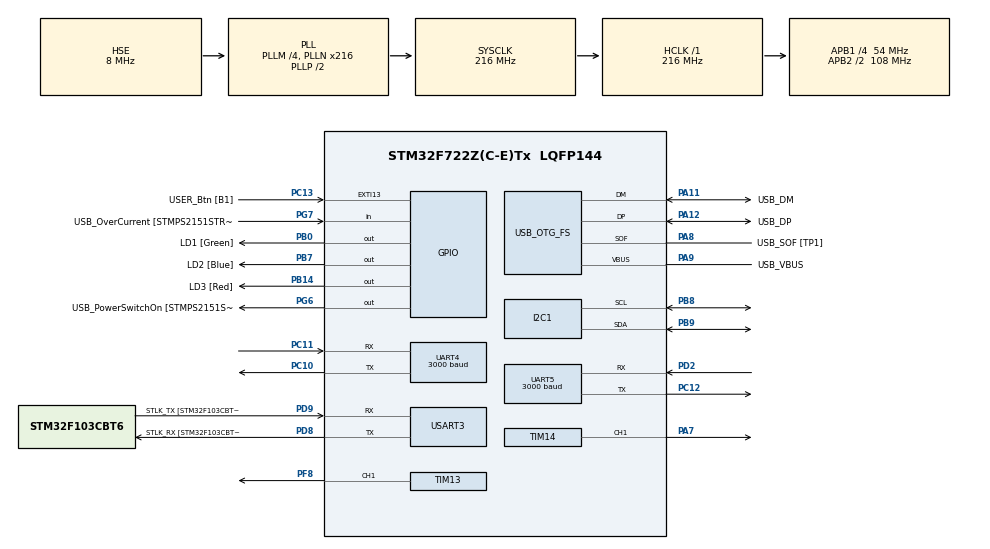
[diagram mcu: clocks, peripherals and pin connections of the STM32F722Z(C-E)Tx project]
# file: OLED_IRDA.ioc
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I2C1.Timing=0x20404768
Mcu.Family=STM32F7
Mcu.Name=STM32F722Z(C-E)Tx
Mcu.Package=LQFP144
NVIC.PriorityGroup=NVIC_PRIORITYGROUP_4
NVIC.UART4_IRQn=true\:0\:0\:false\:false\:true\:true\:true\:true
NVIC.UART5_IRQn=true\:0\:0\:false\:false\:true\:true\:true\:true
PA10.GPIO_Label=USB_ID
PA10.Signal=USB_OTG_FS_ID
PA11.GPIO_Label=USB_DM
PA11.Mode=Device_Only
PA11.Signal=USB_OTG_FS_DM
PA12.GPIO_Label=USB_DP
PA12.Mode=Device_Only
PA12.Signal=USB_OTG_FS_DP
PA13.GPIO_Label=TMS
PA13.Mode=Serial_Wire
PA13.Signal=SYS_JTMS-SWDIO
PA14.GPIO_Label=TCK
PA14.Mode=Serial_Wire
PA14.Signal=SYS_JTCK-SWCLK
PA7.Signal=S_TIM14_CH1
PA8.GPIO_Label=USB_SOF [TP1]
PA8.Mode=Activate_SOF_FS
PA8.Signal=USB_OTG_FS_SOF
PA9.GPIO_Label=USB_VBUS
PA9.Mode=Activate_VBUS
PA9.Signal=USB_OTG_FS_VBUS
PB0.GPIO_Label=LD1 [Green]
PB0.Signal=GPIO_Output
PB14.GPIO_Label=LD3 [Red]
PB14.Signal=GPIO_Output
PB3.GPIO_Label=SWO
PB3.Signal=SYS_JTDO-SWO
PB6.Signal=S_TIM4_CH1
PB7.GPIO_Label=LD2 [Blue]
PB7.Signal=GPIO_Output
PB8.Mode=I2C
PB8.Signal=I2C1_SCL
PB9.Mode=I2C
PB9.Signal=I2C1_SDA
PC10.Mode=Asynchronous
PC10.Signal=UART4_TX
PC11.Mode=Asynchronous
PC11.Signal=UART4_RX
PC12.Mode=Asynchronous
PC12.Signal=UART5_TX
PC13.GPIO_Label=USER_Btn [B1]
PC13.Signal=GPXTI13
PC14-OSC32_IN.Mode=LSE-External-Clock-Source
PC14-OSC32_IN.Signal=RCC_OSC32_IN
PC15-OSC32_OUT.Mode=LSE-External-Clock-Source
PC15-OSC32_OUT.Signal=RCC_OSC32_OUT
PD2.Mode=Asynchronous
PD2.Signal=UART5_RX
PD8.GPIO_Label=STLK_RX [STM32F103CBT6_PA3]
PD8.Mode=Asynchronous
PD8.Signal=USART3_TX
PD9.GPIO_Label=STLK_TX [STM32F103CBT6_PA2]
PD9.Mode=Asynchronous
PD9.Signal=USART3_RX
PF8.Signal=S_TIM13_CH1
PG6.GPIO_Label=USB_PowerSwitchOn [STMPS2151STR_EN]
PG6.Signal=GPIO_Output
PG7.GPIO_Label=USB_OverCurrent [STMPS2151STR_FAULT]
PG7.Signal=GPIO_Input
PH0-OSC_IN.GPIO_Label=MCO
PH0-OSC_IN.Mode=HSE-External-Clock-Source
PH0-OSC_IN.Signal=RCC_OSC_IN
PH1-OSC_OUT.Mode=HSE-External-Clock-Source
PH1-OSC_OUT.Signal=RCC_OSC_OUT
ProjectManager.HeapSize=0x200
ProjectManager.StackSize=0x400
ProjectManager.TargetToolchain=STM32CubeIDE
RCC.48MHZClocksFreq_Value=24000000
RCC.AHBFreq_Value=216000000
RCC.APB1CLKDivider=RCC_HCLK_DIV4
RCC.APB1Freq_Value=54000000
RCC.APB1TimFreq_Value=108000000
RCC.APB2CLKDivider=RCC_HCLK_DIV2
RCC.APB2Freq_Value=108000000
RCC.APB2TimFreq_Value=216000000
RCC.CortexFreq_Value=216000000
RCC.HCLKFreq_Value=216000000
RCC.HSE_VALUE=8000000
RCC.HSI_VALUE=16000000
RCC.PLLM=4
RCC.PLLMUL=RCC_PLL_MUL9
RCC.PLLN=216
RCC.PLLQ=9
RCC.PRESCALERUSB=RCC_USBCLKSOURCE_PLL_DIV1_5
RCC.RTCClockSelection=RCC_RTCCLKSOURCE_LSE
RCC.SYSCLKFreq_VALUE=216000000
RCC.SYSCLKSource=RCC_SYSCLKSOURCE_PLLCLK
RCC.SYSCLKSourceVirtual=RCC_SYSCLKSOURCE_PLLCLK
RCC.USBFreq_Value=48000000
RCC.VCOOutputFreq_Value=432000000
SH.S_TIM13_CH1.0=TIM13_CH1,PWM Generation1 CH1
SH.S_TIM14_CH1.0=TIM14_CH1,PWM Generation1 CH1
SH.S_TIM4_CH1.0=TIM4_CH1
TIM13.Channel=TIM_CHANNEL_1
TIM13.Period=4-1
TIM13.Prescaler=750-1
TIM14.Channel=TIM_CHANNEL_1
TIM14.Period=4-1
TIM14.Prescaler=482-1
UART4.BaudRate=3000
UART5.BaudRate=3000
USART3.VirtualMode-Asynchronous=VM_ASYNC
USB_OTG_FS.VirtualMode=Device_Only
VP_TIM13_VS_ClockSourceINT.Mode=Enable_Timer
VP_TIM14_VS_ClockSourceINT.Mode=Enable_Timer
board=NUCLEO-F722ZE

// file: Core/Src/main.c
/* USER CODE BEGIN Header */
/**
  ******************************************************************************
  * @file           : main.c
  * @brief          : Main program body
  ******************************************************************************
  * @attention
  *
  * Copyright (c) 2023 STMicroelectronics.
  * All rights reserved.
  *
  * This software is licensed under terms that can be found in the LICENSE file
  * in the root directory of this software component.
  * If no LICENSE file comes with this software, it is provided AS-IS.
  *
  ******************************************************************************
  */
/* USER CODE END Header */
#include "main.h"

/* USER CODE BEGIN Includes */
#include <stdio.h>
#include "ssd1306.h"
/* USER CODE END Includes */

I2C_HandleTypeDef hi2c1;

TIM_HandleTypeDef htim13;
TIM_HandleTypeDef htim14;

UART_HandleTypeDef huart4;
UART_HandleTypeDef huart5;
UART_HandleTypeDef huart3;

PCD_HandleTypeDef hpcd_USB_OTG_FS;

void SystemClock_Config(void);
static void MX_GPIO_Init(void);
static void MX_USART3_UART_Init(void);
static void MX_USB_OTG_FS_PCD_Init(void);
static void MX_I2C1_Init(void);
static void MX_UART4_Init(void);
static void MX_TIM14_Init(void);
static void MX_TIM13_Init(void);
static void MX_UART5_Init(void);
/* USER CODE BEGIN PFP */
enum{
	false = 0,
	true = 1
};
char				uart_msg[50];
int					uart_len;
uint8_t				is_uart4_rcv = false;
uint8_t 			is_uart5_rcv = false;
uint8_t 			uart4_rcv_buf, uart4_data_ob;
uint8_t 			uart5_rcv_buf, uart5_data_ob;
HAL_StatusTypeDef	ret_stat;

void HAL_UART_RxCpltCallback(UART_HandleTypeDef *huart){
	if( huart == &huart4 ){
		uart4_data_ob = uart4_rcv_buf;
		uart4_rcv_buf = 0;
		HAL_UART_Receive_IT(&huart4, &uart4_rcv_buf, 1);
		HAL_GPIO_TogglePin( GPIOB, LD2_Pin );

		is_uart4_rcv = true;
	}
	else if( huart == &huart5 ){
		uart5_data_ob = uart5_rcv_buf;
		uart5_rcv_buf = 0;
		HAL_UART_Receive_IT(&huart5, &uart5_rcv_buf, 1);
		HAL_GPIO_TogglePin( GPIOB, LD3_Pin );

		is_uart5_rcv = true;
	}
}

/* USER CODE END PFP */

int main(void)
{

  /* MCU Configuration--------------------------------------------------------*/

  /* Reset of all peripherals, Initializes the Flash interface and the Systick. */
  HAL_Init();

  /* Configure the system clock */
  SystemClock_Config();

  /* Initialize all configured peripherals */
  MX_GPIO_Init();
  MX_USART3_UART_Init();
  MX_USB_OTG_FS_PCD_Init();
  MX_I2C1_Init();
  MX_UART4_Init();
  MX_TIM14_Init();
  MX_TIM13_Init();
  MX_UART5_Init();
  /* USER CODE BEGIN 2 */

  TIM14->CCR1 = 2;
  TIM13->CCR1 = 2;

  HAL_TIM_PWM_Start(&htim14, TIM_CHANNEL_1);
  HAL_TIM_PWM_Start(&htim13, TIM_CHANNEL_1);

  HAL_UART_Receive_IT(&huart4, &uart4_rcv_buf, 1);
  HAL_UART_Receive_IT(&huart5, &uart5_rcv_buf, 1);

  ssd1306_Init();

  ssd1306_Fill(White);
  ssd1306_UpdateScreen();

  char str[] = "Malloy Aeronautics";
  ssd1306_SetCursor(10, 2);
  ssd1306_WriteString(str, Font_6x8, Black);
  ssd1306_SetCursor(10, 12);
  ssd1306_WriteString(str, Font_6x8, Black);
  ssd1306_SetCursor(10, 22);
  ssd1306_WriteString(str, Font_6x8, Black);
  ssd1306_UpdateScreen();

  /* USER CODE END 2 */

  /* Infinite loop */
  /* USER CODE BEGIN WHILE */
  uint8_t dat = 0x55;
  while (1)
  {
    /* USER CODE END WHILE */

    /* USER CODE BEGIN 3 */
	// --- Testing for IR ---

	HAL_GPIO_TogglePin( GPIOB, LD1_Pin );
  	HAL_UART_Transmit( &huart4, &dat, 1, 100 );
	HAL_UART_Transmit( &huart5, &dat, 1, 100 );
	if( is_uart4_rcv ){
		uart_len = sprintf(uart_msg, "UART4_RCV ... %d ...", uart4_data_ob );
		HAL_UART_Transmit(&huart3, (uint8_t*)uart_msg, uart_len, 100);
		uart4_data_ob = 0;
		is_uart4_rcv = false;
	}
	if( is_uart5_rcv ){
		uart_len = sprintf(uart_msg, "UART5_RCV ... %d ...", uart5_data_ob );
		HAL_UART_Transmit(&huart3, (uint8_t*)uart_msg, uart_len, 100);
		uart5_data_ob = 0;
		is_uart5_rcv = false;
	}

	// *** Testing for IR ***

  }
  /* USER CODE END 3 */
}

void SystemClock_Config(void)
{
  RCC_OscInitTypeDef RCC_OscInitStruct = {0};
  RCC_ClkInitTypeDef RCC_ClkInitStruct = {0};

  /** Configure the main internal regulator output voltage
  */
  __HAL_RCC_PWR_CLK_ENABLE();
  __HAL_PWR_VOLTAGESCALING_CONFIG(PWR_REGULATOR_VOLTAGE_SCALE1);

  /** Initializes the RCC Oscillators according to the specified parameters
  * in the RCC_OscInitTypeDef structure.
  */
  RCC_OscInitStruct.OscillatorType = RCC_OSCILLATORTYPE_HSE;
  RCC_OscInitStruct.HSEState = RCC_HSE_BYPASS;
  RCC_OscInitStruct.PLL.PLLState = RCC_PLL_ON;
  RCC_OscInitStruct.PLL.PLLSource = RCC_PLLSOURCE_HSE;
  RCC_OscInitStruct.PLL.PLLM = 4;
  RCC_OscInitStruct.PLL.PLLN = 216;
  RCC_OscInitStruct.PLL.PLLP = RCC_PLLP_DIV2;
  RCC_OscInitStruct.PLL.PLLQ = 9;
  if (HAL_RCC_OscConfig(&RCC_OscInitStruct) != HAL_OK)
  {
    Error_Handler();
  }

  /** Activate the Over-Drive mode
  */
  if (HAL_PWREx_EnableOverDrive() != HAL_OK)
  {
    Error_Handler();
  }

  /** Initializes the CPU, AHB and APB buses clocks
  */
  RCC_ClkInitStruct.ClockType = RCC_CLOCKTYPE_HCLK|RCC_CLOCKTYPE_SYSCLK
                              |RCC_CLOCKTYPE_PCLK1|RCC_CLOCKTYPE_PCLK2;
  RCC_ClkInitStruct.SYSCLKSource = RCC_SYSCLKSOURCE_PLLCLK;
  RCC_ClkInitStruct.AHBCLKDivider = RCC_SYSCLK_DIV1;
  RCC_ClkInitStruct.APB1CLKDivider = RCC_HCLK_DIV4;
  RCC_ClkInitStruct.APB2CLKDivider = RCC_HCLK_DIV2;

  if (HAL_RCC_ClockConfig(&RCC_ClkInitStruct, FLASH_LATENCY_7) != HAL_OK)
  {
    Error_Handler();
  }
}

static void MX_I2C1_Init(void)
{

  hi2c1.Instance = I2C1;
  hi2c1.Init.Timing = 0x20404768;
  hi2c1.Init.OwnAddress1 = 0;
  hi2c1.Init.AddressingMode = I2C_ADDRESSINGMODE_7BIT;
  hi2c1.Init.DualAddressMode = I2C_DUALADDRESS_DISABLE;
  hi2c1.Init.OwnAddress2 = 0;
  hi2c1.Init.OwnAddress2Masks = I2C_OA2_NOMASK;
  hi2c1.Init.GeneralCallMode = I2C_GENERALCALL_DISABLE;
  hi2c1.Init.NoStretchMode = I2C_NOSTRETCH_DISABLE;
  if (HAL_I2C_Init(&hi2c1) != HAL_OK)
  {
    Error_Handler();
  }

  /** Configure Analogue filter
  */
  if (HAL_I2CEx_ConfigAnalogFilter(&hi2c1, I2C_ANALOGFILTER_ENABLE) != HAL_OK)
  {
    Error_Handler();
  }

  /** Configure Digital filter
  */
  if (HAL_I2CEx_ConfigDigitalFilter(&hi2c1, 0) != HAL_OK)
  {
    Error_Handler();
  }

}

static void MX_TIM13_Init(void)
{

  TIM_OC_InitTypeDef sConfigOC = {0};

  htim13.Instance = TIM13;
  htim13.Init.Prescaler = 750-1;
  htim13.Init.CounterMode = TIM_COUNTERMODE_UP;
  htim13.Init.Period = 4-1;
  htim13.Init.ClockDivision = TIM_CLOCKDIVISION_DIV1;
  htim13.Init.AutoReloadPreload = TIM_AUTORELOAD_PRELOAD_DISABLE;
  if (HAL_TIM_Base_Init(&htim13) != HAL_OK)
  {
    Error_Handler();
  }
  if (HAL_TIM_PWM_Init(&htim13) != HAL_OK)
  {
    Error_Handler();
  }
  sConfigOC.OCMode = TIM_OCMODE_PWM1;
  sConfigOC.Pulse = 0;
  sConfigOC.OCPolarity = TIM_OCPOLARITY_HIGH;
  sConfigOC.OCFastMode = TIM_OCFAST_DISABLE;
  if (HAL_TIM_PWM_ConfigChannel(&htim13, &sConfigOC, TIM_CHANNEL_1) != HAL_OK)
  {
    Error_Handler();
  }
  HAL_TIM_MspPostInit(&htim13);

}

static void MX_TIM14_Init(void)
{

  TIM_OC_InitTypeDef sConfigOC = {0};

  htim14.Instance = TIM14;
  htim14.Init.Prescaler = 482-1;
  htim14.Init.CounterMode = TIM_COUNTERMODE_UP;
  htim14.Init.Period = 4-1;
  htim14.Init.ClockDivision = TIM_CLOCKDIVISION_DIV1;
  htim14.Init.AutoReloadPreload = TIM_AUTORELOAD_PRELOAD_DISABLE;
  if (HAL_TIM_Base_Init(&htim14) != HAL_OK)
  {
    Error_Handler();
  }
  if (HAL_TIM_PWM_Init(&htim14) != HAL_OK)
  {
    Error_Handler();
  }
  sConfigOC.OCMode = TIM_OCMODE_PWM1;
  sConfigOC.Pulse = 0;
  sConfigOC.OCPolarity = TIM_OCPOLARITY_HIGH;
  sConfigOC.OCFastMode = TIM_OCFAST_DISABLE;
  if (HAL_TIM_PWM_ConfigChannel(&htim14, &sConfigOC, TIM_CHANNEL_1) != HAL_OK)
  {
    Error_Handler();
  }
  HAL_TIM_MspPostInit(&htim14);

}

static void MX_UART4_Init(void)
{

  huart4.Instance = UART4;
  huart4.Init.BaudRate = 3000;
  huart4.Init.WordLength = UART_WORDLENGTH_8B;
  huart4.Init.StopBits = UART_STOPBITS_1;
  huart4.Init.Parity = UART_PARITY_NONE;
  huart4.Init.Mode = UART_MODE_TX_RX;
  huart4.Init.HwFlowCtl = UART_HWCONTROL_NONE;
  huart4.Init.OverSampling = UART_OVERSAMPLING_16;
  huart4.Init.OneBitSampling = UART_ONE_BIT_SAMPLE_DISABLE;
  huart4.AdvancedInit.AdvFeatureInit = UART_ADVFEATURE_NO_INIT;
  if (HAL_UART_Init(&huart4) != HAL_OK)
  {
    Error_Handler();
  }

}

static void MX_UART5_Init(void)
{

  huart5.Instance = UART5;
  huart5.Init.BaudRate = 3000;
  huart5.Init.WordLength = UART_WORDLENGTH_8B;
  huart5.Init.StopBits = UART_STOPBITS_1;
  huart5.Init.Parity = UART_PARITY_NONE;
  huart5.Init.Mode = UART_MODE_TX_RX;
  huart5.Init.HwFlowCtl = UART_HWCONTROL_NONE;
  huart5.Init.OverSampling = UART_OVERSAMPLING_16;
  huart5.Init.OneBitSampling = UART_ONE_BIT_SAMPLE_DISABLE;
  huart5.AdvancedInit.AdvFeatureInit = UART_ADVFEATURE_NO_INIT;
  if (HAL_UART_Init(&huart5) != HAL_OK)
  {
    Error_Handler();
  }

}

static void MX_USART3_UART_Init(void)
{

  huart3.Instance = USART3;
  huart3.Init.BaudRate = 115200;
  huart3.Init.WordLength = UART_WORDLENGTH_8B;
  huart3.Init.StopBits = UART_STOPBITS_1;
  huart3.Init.Parity = UART_PARITY_NONE;
  huart3.Init.Mode = UART_MODE_TX_RX;
  huart3.Init.HwFlowCtl = UART_HWCONTROL_NONE;
  huart3.Init.OverSampling = UART_OVERSAMPLING_16;
  huart3.Init.OneBitSampling = UART_ONE_BIT_SAMPLE_DISABLE;
  huart3.AdvancedInit.AdvFeatureInit = UART_ADVFEATURE_NO_INIT;
  if (HAL_UART_Init(&huart3) != HAL_OK)
  {
    Error_Handler();
  }

}

static void MX_USB_OTG_FS_PCD_Init(void)
{

  hpcd_USB_OTG_FS.Instance = USB_OTG_FS;
  hpcd_USB_OTG_FS.Init.dev_endpoints = 6;
  hpcd_USB_OTG_FS.Init.speed = PCD_SPEED_FULL;
  hpcd_USB_OTG_FS.Init.dma_enable = DISABLE;
  hpcd_USB_OTG_FS.Init.phy_itface = PCD_PHY_EMBEDDED;
  hpcd_USB_OTG_FS.Init.Sof_enable = ENABLE;
  hpcd_USB_OTG_FS.Init.low_power_enable = DISABLE;
  hpcd_USB_OTG_FS.Init.lpm_enable = DISABLE;
  hpcd_USB_OTG_FS.Init.battery_charging_enable = ENABLE;
  hpcd_USB_OTG_FS.Init.vbus_sensing_enable = ENABLE;
  hpcd_USB_OTG_FS.Init.use_dedicated_ep1 = DISABLE;
  if (HAL_PCD_Init(&hpcd_USB_OTG_FS) != HAL_OK)
  {
    Error_Handler();
  }

}

static void MX_GPIO_Init(void)
{
  GPIO_InitTypeDef GPIO_InitStruct = {0};

  /* GPIO Ports Clock Enable */
  __HAL_RCC_GPIOC_CLK_ENABLE();
  __HAL_RCC_GPIOF_CLK_ENABLE();
  __HAL_RCC_GPIOH_CLK_ENABLE();
  __HAL_RCC_GPIOA_CLK_ENABLE();
  __HAL_RCC_GPIOB_CLK_ENABLE();
  __HAL_RCC_GPIOD_CLK_ENABLE();
  __HAL_RCC_GPIOG_CLK_ENABLE();

  /*Configure GPIO pin Output Level */
  HAL_GPIO_WritePin(GPIOB, LD1_Pin|LD3_Pin|LD2_Pin, GPIO_PIN_RESET);

  /*Configure GPIO pin Output Level */
  HAL_GPIO_WritePin(USB_PowerSwitchOn_GPIO_Port, USB_PowerSwitchOn_Pin, GPIO_PIN_RESET);

  /*Configure GPIO pin : USER_Btn_Pin */
  GPIO_InitStruct.Pin = USER_Btn_Pin;
  GPIO_InitStruct.Mode = GPIO_MODE_IT_RISING;
  GPIO_InitStruct.Pull = GPIO_NOPULL;
  HAL_GPIO_Init(USER_Btn_GPIO_Port, &GPIO_InitStruct);

  /*Configure GPIO pins : LD1_Pin LD3_Pin LD2_Pin */
  GPIO_InitStruct.Pin = LD1_Pin|LD3_Pin|LD2_Pin;
  GPIO_InitStruct.Mode = GPIO_MODE_OUTPUT_PP;
  GPIO_InitStruct.Pull = GPIO_NOPULL;
  GPIO_InitStruct.Speed = GPIO_SPEED_FREQ_LOW;
  HAL_GPIO_Init(GPIOB, &GPIO_InitStruct);

  /*Configure GPIO pin : USB_PowerSwitchOn_Pin */
  GPIO_InitStruct.Pin = USB_PowerSwitchOn_Pin;
  GPIO_InitStruct.Mode = GPIO_MODE_OUTPUT_PP;
  GPIO_InitStruct.Pull = GPIO_NOPULL;
  GPIO_InitStruct.Speed = GPIO_SPEED_FREQ_LOW;
  HAL_GPIO_Init(USB_PowerSwitchOn_GPIO_Port, &GPIO_InitStruct);

  /*Configure GPIO pin : USB_OverCurrent_Pin */
  GPIO_InitStruct.Pin = USB_OverCurrent_Pin;
  GPIO_InitStruct.Mode = GPIO_MODE_INPUT;
  GPIO_InitStruct.Pull = GPIO_NOPULL;
  HAL_GPIO_Init(USB_OverCurrent_GPIO_Port, &GPIO_InitStruct);

  /*Configure GPIO pin : PB6 */
  GPIO_InitStruct.Pin = GPIO_PIN_6;
  GPIO_InitStruct.Mode = GPIO_MODE_AF_PP;
  GPIO_InitStruct.Pull = GPIO_NOPULL;
  GPIO_InitStruct.Speed = GPIO_SPEED_FREQ_LOW;
  GPIO_InitStruct.Alternate = GPIO_AF2_TIM4;
  HAL_GPIO_Init(GPIOB, &GPIO_InitStruct);

}

void Error_Handler(void)
{
  __disable_irq();
  while (1)
  {
  }
}
